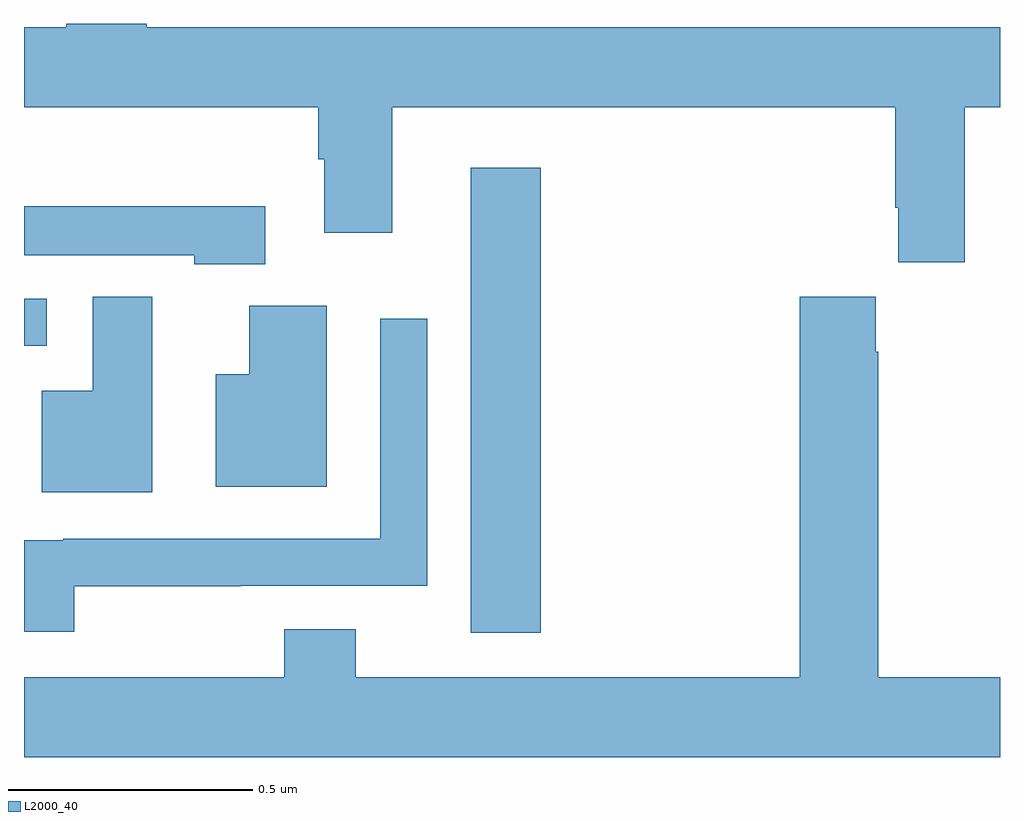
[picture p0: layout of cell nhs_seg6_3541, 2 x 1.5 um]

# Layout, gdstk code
import gdstk
lib = gdstk.Library(unit=1e-6, precision=1e-09)
def R(c, l, rs):  # rectangles x0, y0, x1, y1
    for r in rs: c.add(gdstk.rectangle(r[:2], r[2:], *l))
def P(c, l, *ps):  # polygons
    for p in ps: c.add(gdstk.Polygon(p, *l))
L2000_40 = (2000, 40)

nhs_seg6_3541 = lib.new_cell('nhs_seg6_3541')
R(nhs_seg6_3541, L2000_40, [(158.915,954.252,159.059,955.204), (158,954.84,158.047,954.936)])
P(nhs_seg6_3541, L2000_40, [(159.928,955.328),(160,955.328),(160,955.492),(158.252,955.492),(158.252,955.5),(158.087,955.5),(158.087,955.492),(158,955.492),(158,955.328),(158.603,955.328),(158.603,955.222),(158.615,955.222),(158.615,955.071),(158.755,955.071),(158.755,955.328),(159.785,955.328),(159.785,955.123),(159.791,955.123),(159.791,955.011),(159.928,955.011)],
  [(158.494,955.126),(158,955.126),(158,955.025),(158.349,955.025),(158.349,955.007),(158.494,955.007)],
  [(160,954.16),(159.75,954.16),(159.75,954.827),(159.745,954.827),(159.745,954.94),(159.59,954.94),(159.59,954.16),(158.68,954.16),(158.68,954.259),(158.533,954.259),(158.533,954.16),(158,954.16),(158,953.996),(160,953.996)],
  [(158.263,954.94),(158.141,954.94),(158.141,954.748),(158.036,954.748),(158.036,954.539),(158.263,954.539)],
  [(158.62,954.922),(158.462,954.922),(158.462,954.781),(158.393,954.781),(158.393,954.551),(158.62,954.551)],
  [(158.103,954.347),(158.444,954.347),(158.444,954.348),(158.826,954.348),(158.826,954.895),(158.73,954.895),(158.73,954.444),(158.08,954.444),(158.08,954.441),(158,954.441),(158,954.254),(158.103,954.254)])

lib.write_gds('nhs_seg6_3541.gds')
